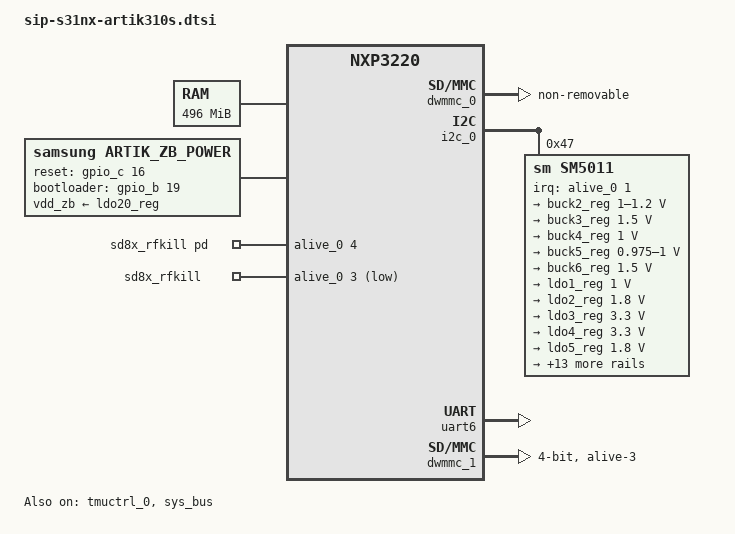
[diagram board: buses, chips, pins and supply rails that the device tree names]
// SPDX-License-Identifier: (GPL-2.0+ OR MIT)
/*
 * Copyright (C) 2018  Nexell Co., Ltd.
 * Author: JungHyun, Kim <jhkim@nexell.co.kr>
 */

#include "sip-s31nx.dtsi"

/ {
	compatible = "samsung,artik310s", "nexell,nxp3220";

	memory@40000000 {
		device_type = "memory";
		reg = <0x40000000 0x1f000000>;
	};

	thermal-zones {
		cpu_thermal: cpu-thermal {
			thermal-sensors = <&tmuctrl_0>;
			polling-delay-passive = <1000>;
			polling-delay = <1000>;
			trips {
				cpu_alert0: cpu-alert-0 {
					temperature = <90000>;
					hysteresis = <0>;
					type = "passive";
				};
				cpu_alert1: cpu-alert-1 {
					temperature = <100000>;
					hysteresis = <0>;
					type = "passive";
				};
				cpu_alert2: cpu-alert-2 {
					temperature = <110000>;
					hysteresis = <0>;
					type = "passive";
				};
				cpu-crit-0 {
					temperature = <115000>;
					hysteresis = <0>;
					type = "critical";
				};
			};

			cooling-maps {
				map0 {
					trip = <&cpu_alert0>;
					cooling-device = <&cpu0 5 5>;
				};
				map1 {
					trip = <&cpu_alert1>;
					cooling-device = <&cpu0 8 8>;
				};
				map2 {
					trip = <&cpu_alert2>;
					cooling-device = <&cpu0 9 9>;
				};
			};
		};
	};

	artik_zb_power {
		compatible = "samsung,artik_zb_power";
		vdd_zb-supply = <&ldo20_reg>;     /* PVDD_LDO20_3P3 */
		reset-gpio = <&gpio_c 16 0>;      /* AP_ZB_RSTn = GPC16 */
		bootloader-gpio = <&gpio_b 19 0>; /* AP_ZIG_RBI = GPB19 */
		status = "okay";
	};

	sd8x_rfkill: sd8x-rfkill {
		 compatible = "mrvl,sd8x-rfkill";
		 sd-host = <&dwmmc_1>;
		 pd-gpio = <&alive_0 4 0>; /* AliveGPIO4=AP_COMBO_PDN output*/
		 gpios = <&alive_0 3 1>; /* AliveGPIO3=COMBE_HOST_WAKE, input */
		 vdd_bt_wlna_io_3p3-supply = <&ldo16_reg>;  /* PVDD_LDO16_3P3 */
		 vdd_bt_wlna_2p2-supply = <&ldo17_reg>;     /* PVDD_LDO17_2P2 */
		 vdd_bt_wlna_1p8-supply = <&ldo18_reg>;     /* PVDD_LDO18_1P8 */
		 status = "okay";
	};

	sd8xxx-wlan {
		 drvdbg  = <0x37>;
		 drv_mode = <0x5>;
		 cfg80211_wext = <0xf>;
		 sta_name = "wlan";
		 wfd_name = "p2p";
		 max_vir_bss = <1>;
		 cal_data_cfg = "mrvl/WlanCalData_ext.conf";
		 fw_name = "mrvl/sdsd8977_combo_v2.bin";
		 reg_alpha2 = "US";
		 p2p_enh = <1>;
		 inact_tmo = <300>;
		 txpwrlimit_cfg = "mrvl/txpwrlimit_cfg.bin";
	};

	sd8xxx-bt {
		 init_cfg = "mrvl/bt_init_cfg.conf";
		 cal_cfg = "mrvl/bt_cal_data.conf";
	};
};

&cpu0 {
	cpu-supply = <&buck2_reg>;
};

&cpu0_opp_table {
	opp-0 {
		opp-hz = /bits/ 64 <100000000>;
		opp-microvolt = <1000000>;
	};
	opp-1 {
		opp-hz = /bits/ 64 <200000000>;
		opp-microvolt = <1000000>;
	};
	opp-2 {
		opp-hz = /bits/ 64 <300000000>;
		opp-microvolt = <1000000>;
	};
	opp-3 {
		opp-hz = /bits/ 64 <400000000>;
		opp-microvolt = <1000000>;
	};
	opp-4 {
		opp-hz = /bits/ 64 <500000000>;
		opp-microvolt = <1000000>;
	};
	opp-5 {
		opp-hz = /bits/ 64 <600000000>;
		opp-microvolt = <1100000>;
	};
	opp-6 {
		opp-hz = /bits/ 64 <700000000>;
		opp-microvolt = <1100000>;
	};
	opp-7 {
		opp-hz = /bits/ 64 <800000000>;
		opp-microvolt = <1100000>;
		opp-suspend;
	};
	opp-8 {
		opp-hz = /bits/ 64 <900000000>;
		opp-microvolt = <1200000>;
	};
	opp-9 {
		opp-hz = /bits/ 64 <1000000000>;
		opp-microvolt = <1200000>;
	};
};

&dwmmc_0 {
	clock-frequency = <333333334>;

	cap-mmc-highspeed;
	non-removable;
	mmc-ddr-3_3v;
	nexell,drive_shift = <0x03>;
	nexell,sample_shift = <0x03>;
	card-detect-delay = <200>;
	disable-wp;
	status = "okay";
};

&i2c_0 {
	status = "okay";
	#address-cells = <1>;
	#size-cells = <0>;

	sm5011: sm5011-pmic@47 {
		compatible = "sm,sm5011";
		interrupt-parent = <&alive_0>;
		interrupts = <1 IRQ_TYPE_NONE>;
		pinctrl-names = "default";
		pinctrl-0 = <&pmic_irq &rtc_out>;
		reg = <0x47>;
		enable-pwrstm;

		voltage-regulators {
			buck2_reg: BUCK2 {
				regulator-name = "VDD_CPU_1P0";
				regulator-min-microvolt = <1000000>;
				regulator-max-microvolt = <1200000>;
				regulator-always-on;
				regulator-boot-on;
				pwrstm-enter-slot = <3>;
				pwrstm-exit-slot = <0>;

				regulator-state-mem {
					regulator-off-in-suspend;
				};
			};

			buck3_reg: BUCK3 {
				regulator-name = "VDD_DDRIO_1P5";
				regulator-min-microvolt = <1500000>;
				regulator-max-microvolt = <1500000>;
				regulator-always-on;
				regulator-boot-on;

				regulator-state-mem {
					regulator-on-in-suspend;
				};
			};

			buck4_reg: BUCK4 {
				regulator-name = "VDD_DDR_1P0";
				regulator-min-microvolt = <1000000>;
				regulator-max-microvolt = <1000000>;
				regulator-always-on;
				regulator-boot-on;
				pwrstm-enter-slot = <3>;
				pwrstm-exit-slot = <0>;

				regulator-state-mem {
					regulator-off-in-suspend;
				};
			};

			buck5_reg: BUCK5 {
				regulator-name = "VDD_CORE_1P0";
				regulator-min-microvolt = <975000>;
				regulator-max-microvolt = <1000000>;
				regulator-always-on;
				regulator-boot-on;
				pwrstm-enter-slot = <3>;
				pwrstm-exit-slot = <0>;

				regulator-state-mem {
					regulator-off-in-suspend;
				};
			};

			buck6_reg: BUCK6 {
				regulator-name = "VDD_DDR_1P5";
				regulator-min-microvolt = <1500000>;
				regulator-max-microvolt = <1500000>;
				regulator-always-on;
				regulator-boot-on;

				regulator-state-mem {
					regulator-on-in-suspend;
				};
			};

			ldo1_reg: LDO1 {
				regulator-name = "VDD_PLL0_1P0";
				regulator-min-microvolt = <1000000>;
				regulator-max-microvolt = <1000000>;
				regulator-always-on;
				regulator-boot-on;
				pwrstm-enter-slot = <3>;
				pwrstm-exit-slot = <0>;

				regulator-state-mem {
					regulator-off-in-suspend;
				};
			};

			ldo2_reg: LDO2 {
				regulator-name = "VDD_PLL0_1P8";
				regulator-min-microvolt = <1800000>;
				regulator-max-microvolt = <1800000>;
				regulator-always-on;
				regulator-boot-on;
				pwrstm-enter-slot = <1>;
				pwrstm-exit-slot = <2>;

				regulator-state-mem {
					regulator-off-in-suspend;
				};
			};

			ldo3_reg: LDO3 {
				regulator-name = "VDD_EMMC_IO_3P3";
				regulator-min-microvolt = <3300000>;
				regulator-max-microvolt = <3300000>;
				regulator-always-on;
				regulator-boot-on;

				regulator-state-mem {
					regulator-on-in-suspend;
				};
			};

			ldo4_reg: LDO4 {
				regulator-name = "VDD_ALIVE_3P3";
				regulator-min-microvolt = <3300000>;
				regulator-max-microvolt = <3300000>;
				regulator-always-on;
				regulator-boot-on;

				regulator-state-mem {
					regulator-on-in-suspend;
				};
			};

			ldo5_reg: LDO5 {
				regulator-name = "VDD_ALIVE_1P8";
				regulator-min-microvolt = <1800000>;
				regulator-max-microvolt = <1800000>;
				regulator-always-on;
				regulator-boot-on;

				regulator-state-mem {
					regulator-on-in-suspend;
				};
			};

			ldo6_reg: LDO6 {
				regulator-name = "VDD_ALIVE_1P0";
				regulator-min-microvolt = <1000000>;
				regulator-max-microvolt = <1000000>;
				regulator-always-on;
				regulator-boot-on;

				regulator-state-mem {
					regulator-on-in-suspend;
				};
			};

			ldo7_reg: LDO7 {
				regulator-name = "VDD_EFUSE_1P5";
				regulator-min-microvolt = <1500000>;
				regulator-max-microvolt = <1500000>;
			};

			ldo9_reg: LDO9 {
				regulator-name = "VDD_USB_1P0";
				regulator-min-microvolt = <1000000>;
				regulator-max-microvolt = <1000000>;
				regulator-always-on;
				regulator-boot-on;
				pwrstm-enter-slot = <3>;
				pwrstm-exit-slot = <0>;

				regulator-state-mem {
					regulator-off-in-suspend;
				};
			};

			ldo10_reg: LDO10 {
				regulator-name = "VDD_USB_1P8";
				regulator-min-microvolt = <1800000>;
				regulator-max-microvolt = <1800000>;
				regulator-always-on;
				regulator-boot-on;
				pwrstm-enter-slot = <1>;
				pwrstm-exit-slot = <2>;

				regulator-state-mem {
					regulator-off-in-suspend;
				};
			};

			ldo11_reg: LDO11 {
				regulator-name = "VDD_USB_3P3";
				regulator-min-microvolt = <3300000>;
				regulator-max-microvolt = <3300000>;
				regulator-always-on;
				regulator-boot-on;
				pwrstm-enter-slot = <0>;
				pwrstm-exit-slot = <3>;

				regulator-state-mem {
					regulator-off-in-suspend;
				};
			};

			ldo12_reg: LDO12 {
				regulator-name = "VDD_LDO12_1P8";
				regulator-min-microvolt = <1800000>;
				regulator-max-microvolt = <1800000>;
				regulator-always-on;
				regulator-boot-on;

				regulator-state-mem {
					regulator-on-in-suspend;
				};
			};

			ldo13_reg: LDO13 {
				regulator-name = "VDD_LDO13_3P3";
				regulator-min-microvolt = <3300000>;
				regulator-max-microvolt = <3300000>;
				regulator-always-on;
				regulator-boot-on;

				regulator-state-mem {
					regulator-on-in-suspend;
				};
			};

			ldo14_reg: LDO14 {
				regulator-name = "VDD_MM_1P0_AP";
				regulator-min-microvolt = <1000000>;
				regulator-max-microvolt = <1000000>;
				regulator-always-on;
				regulator-boot-on;
				pwrstm-enter-slot = <3>;
				pwrstm-exit-slot = <0>;

				regulator-state-mem {
					regulator-off-in-suspend;
				};
			};

			ldo15_reg: LDO15 {
				regulator-name = "VDD_DDRPLL_1P8_AP";
				regulator-min-microvolt = <1800000>;
				regulator-max-microvolt = <1800000>;
				regulator-always-on;
				regulator-boot-on;
				pwrstm-enter-slot = <1>;
				pwrstm-exit-slot = <2>;

				regulator-state-mem {
					regulator-off-in-suspend;
				};
			};

			ldo16_reg: LDO16 {
				regulator-name = "VDD_BT_WLAN_IO_3P3";
				regulator-min-microvolt = <3300000>;
				regulator-max-microvolt = <3300000>;
			};

			ldo17_reg: LDO17 {
				regulator-name = "VDD_BT_WLAN_2P2";
				regulator-min-microvolt = <2200000>;
				regulator-max-microvolt = <2200000>;
			};

			ldo18_reg: LDO18 {
				regulator-name = "VDD_BT_WLAN_1P8";
				regulator-min-microvolt = <1800000>;
				regulator-max-microvolt = <1800000>;
			};

			ldo20_reg: LDO20 {
				regulator-name = "VDD_ZB_3P3";
				regulator-min-microvolt = <3300000>;
				regulator-max-microvolt = <3300000>;
			};
		};
	};
};

&pinctrl_0 {
	key_pwr: key-pwr {
		nexell,pins = "alive-0";
		nexell,pin-function = <NX_PIN_FUNC0>;
		nexell,pin-pull = <NX_PIN_PULL_UP>;
		nexell,pin-strength = <NX_PIN_STR0>;
	};

	pmic_irq: sm5011-irq {
		nexell,pins = "alive-1";
		nexell,pin-function = <NX_PIN_FUNC0>;
		nexell,pin-pull = <NX_PIN_PULL_NONE>;
		nexell,pin-strength = <NX_PIN_STR0>;
	};

	cfg_wlanhostwake: cfg-wlanhostwake {
		nexell,pins = "alive-3";
		nexell,pin-function = <NX_PIN_FUNC0>;
		nexell,pin-pull = <NX_PIN_PULL_UP>;
		nexell,pin-strength = <NX_PIN_STR0>;
	};
};

&tmuctrl_0 {
	status = "okay";
};

&uart6 {
	status = "okay";
	pinctrl-0 = <&uart6_bus &uart6_hflow>;
};

&dwmmc_1 {
	status = "okay";
	num-slots = <1>;
	bus-width = <4>;
	cap-sd-highspeed;

	broken-cd;
	clock-frequency = <200000000>;
	supports-detect-complete;
	no-prescan-powerup;
	keep-power-in-suspend;
	pm-ignore-notify;
	powered-resumed-nonremovable-card;

	nexell,drive_shift = <0x2>;
	nexell,sample_shift = <0x2>;

	pinctrl-names = "default";
	pinctrl-0 = <&mmc1_clk &mmc1_cmd &mmc1_bus4 &cfg_wlanhostwake>;
};

&peri0_pwr_pin {
	PWR_PIN(PERI0, gpioa-0, INPUT, LOW, NONE);
	PWR_PIN(PERI0, gpioa-1, INPUT, LOW, NONE);
	PWR_PIN(PERI0, gpioa-2, INPUT, LOW, NONE);
	PWR_PIN(PERI0, gpioa-3, INPUT, LOW, NONE);
	PWR_PIN(PERI0, gpioa-4, INPUT, LOW, NONE);
	PWR_PIN(PERI0, gpioa-5, INPUT, LOW, NONE);
	PWR_PIN(PERI0, gpioa-6, INPUT, LOW, NONE);
	PWR_PIN(PERI0, gpioa-7, INPUT, LOW, NONE);
	PWR_PIN(PERI0, gpioa-8, INPUT, LOW, NONE);
	PWR_PIN(PERI0, gpioa-9, INPUT, LOW, NONE);
	PWR_PIN(PERI0, gpioa-10, INPUT, LOW, NONE);
	PWR_PIN(PERI0, gpioa-11, INPUT, LOW, NONE);
	PWR_PIN(PERI0, gpioa-12, INPUT, LOW, NONE);
	PWR_PIN(PERI0, gpioa-13, INPUT, LOW, NONE);
	PWR_PIN(PERI0, gpioa-14, INPUT, LOW, NONE);
	PWR_PIN(PERI0, gpioa-15, INPUT, LOW, NONE);
	PWR_PIN(PERI0, gpioa-16, INPUT, LOW, NONE);
	PWR_PIN(PERI0, gpioa-17, INPUT, LOW, NONE);
	PWR_PIN(PERI0, gpioa-18, INPUT, LOW, NONE);
	PWR_PIN(PERI0, gpioa-19, INPUT, LOW, NONE);
	PWR_PIN(PERI0, gpioa-20, INPUT, LOW, NONE);
	PWR_PIN(PERI0, gpioa-21, INPUT, LOW, NONE);
	PWR_PIN(PERI0, gpioa-22, INPUT, LOW, NONE);
	PWR_PIN(PERI0, gpioa-23, INPUT, LOW, NONE);
	PWR_PIN(PERI0, gpioa-24, NONE, LOW, UP);
	PWR_PIN(PERI0, gpioa-25, INPUT, LOW, NONE);
	PWR_PIN(PERI0, gpioa-26, INPUT, LOW, NONE);
	PWR_PIN(PERI0, gpioa-27, INPUT, LOW, NONE);
	PWR_PIN(PERI0, gpioa-28, INPUT, LOW, NONE);
};

&sdmmc_pwr_pin {
	PWR_PIN(SDMMC, gpioa-29, INPUT, LOW, UP);
	PWR_PIN(SDMMC, gpioa-30, INPUT, LOW, UP);
	PWR_PIN(SDMMC, gpioa-31, INPUT, LOW, UP);
	PWR_PIN(SDMMC, gpiob-0, INPUT, LOW, UP);
	PWR_PIN(SDMMC, gpiob-1, INPUT, LOW, NONE);
	PWR_PIN(SDMMC, gpiob-2, INPUT, LOW, UP);
	PWR_PIN(SDMMC, gpiob-3, INPUT, LOW, NONE);
	PWR_PIN(SDMMC, gpiob-4, INPUT, LOW, NONE);
	PWR_PIN(SDMMC, gpiob-5, INPUT, LOW, NONE);
	PWR_PIN(SDMMC, gpiob-6, INPUT, LOW, NONE);
	PWR_PIN(SDMMC, gpiob-7, INPUT, LOW, NONE);
	PWR_PIN(SDMMC, gpiob-8, INPUT, LOW, NONE);
};

/* This configuration will be applied after verification is done.
&nand_pwr_pin {
	PWR_PIN(NAND, gpiob-9, INPUT, LOW, UP);
	PWR_PIN(NAND, gpiob-10, INPUT, LOW, UP);
	PWR_PIN(NAND, gpiob-11, INPUT, LOW, UP);
	PWR_PIN(NAND, gpiob-12, INPUT, LOW, UP);
	PWR_PIN(NAND, gpiob-13, INPUT, LOW, UP);
	PWR_PIN(NAND, gpiob-14, INPUT, LOW, UP);
	PWR_PIN(NAND, gpiob-15, INPUT, LOW, UP);
	PWR_PIN(NAND, gpiob-16, INPUT, LOW, UP);
	PWR_PIN(NAND, gpiob-17, INPUT, LOW, NONE);
	PWR_PIN(NAND, gpiob-18, INPUT, LOW, NONE);
	PWR_PIN(NAND, gpiob-19, INPUT, LOW, DOWN);
	PWR_PIN(NAND, gpiob-20, INPUT, LOW, UP);
	PWR_PIN(NAND, gpiob-21, INPUT, LOW, UP);
	PWR_PIN(NAND, gpiob-22, INPUT, LOW, DOWN);
	PWR_PIN(NAND, gpiob-23, INPUT, LOW, NONE);
	PWR_PIN(NAND, gpiob-24, INPUT, LOW, NONE);
};
*/

&peri1_pwr_pin {
	PWR_PIN(PERI1, gpiob-25, OUTPUT, LOW, NONE);
	PWR_PIN(PERI1, gpiob-26, OUTPUT, LOW, NONE);
	PWR_PIN(PERI1, gpiob-27, INPUT, LOW, UP);
	PWR_PIN(PERI1, gpiob-28, INPUT, LOW, UP);
	PWR_PIN(PERI1, gpiob-29, INPUT, LOW, NONE);
	PWR_PIN(PERI1, gpiob-30, INPUT, LOW, NONE);
	PWR_PIN(PERI1, gpiob-31, OUTPUT, HIGH, NONE);
	PWR_PIN(PERI1, gpioc-0, INPUT, LOW, NONE);
	PWR_PIN(PERI1, gpioc-1, INPUT, LOW, NONE);
	PWR_PIN(PERI1, gpioc-2, INPUT, LOW, NONE);
	PWR_PIN(PERI1, gpioc-3, INPUT, LOW, NONE);
	PWR_PIN(PERI1, gpioc-4, INPUT, LOW, NONE);
	PWR_PIN(PERI1, gpioc-5, INPUT, LOW, NONE);
	PWR_PIN(PERI1, gpioc-6, OUTPUT, LOW, NONE);
	PWR_PIN(PERI1, gpioc-7, OUTPUT, LOW, NONE);
	PWR_PIN(PERI1, gpioc-8, INPUT, LOW, NONE);
	PWR_PIN(PERI1, gpioc-9, INPUT, LOW, NONE);
	PWR_PIN(PERI1, gpioc-10, INPUT, LOW, NONE);
	PWR_PIN(PERI1, gpioc-11, INPUT, LOW, NONE);
	PWR_PIN(PERI1, gpioc-12, INPUT, LOW, NONE);
	PWR_PIN(PERI1, gpioc-13, INPUT, LOW, NONE);
	PWR_PIN(PERI1, gpioc-14, INPUT, LOW, UP);
	PWR_PIN(PERI1, gpioc-15, INPUT, LOW, NONE);
	PWR_PIN(PERI1, gpioc-16, INPUT, LOW, UP);
	PWR_PIN(PERI1, gpioc-17, INPUT, LOW, DOWN);
};

&gmac_pwr_pin {
	PWR_PIN(GMAC, gpioc-18, INPUT, HIGH, NONE);
	PWR_PIN(GMAC, gpioc-19, INPUT, HIGH, NONE);
	PWR_PIN(GMAC, gpioc-20, INPUT, HIGH, NONE);
	PWR_PIN(GMAC, gpioc-21, INPUT, HIGH, NONE);
	PWR_PIN(GMAC, gpioc-22, INPUT, HIGH, NONE);
	PWR_PIN(GMAC, gpioc-23, INPUT, HIGH, NONE);
	PWR_PIN(GMAC, gpioc-24, INPUT, HIGH, NONE);
	PWR_PIN(GMAC, gpioc-25, INPUT, HIGH, NONE);
	PWR_PIN(GMAC, gpioc-26, INPUT, HIGH, NONE);
	PWR_PIN(GMAC, gpioc-27, INPUT, HIGH, NONE);
	PWR_PIN(GMAC, gpioc-28, INPUT, HIGH, NONE);
	PWR_PIN(GMAC, gpioc-29, INPUT, HIGH, NONE);
	PWR_PIN(GMAC, gpioc-30, INPUT, HIGH, NONE);
	PWR_PIN(GMAC, gpioc-31, INPUT, HIGH, NONE);
	PWR_PIN(GMAC, gpiod-0, INPUT, HIGH, NONE);
	PWR_PIN(GMAC, gpiod-1, INPUT, HIGH, NONE);
	PWR_PIN(GMAC, gpiod-2, INPUT, HIGH, NONE);
	PWR_PIN(GMAC, gpiod-3, INPUT, HIGH, NONE);
	PWR_PIN(GMAC, gpiod-4, INPUT, HIGH, NONE);
	PWR_PIN(GMAC, gpiod-5, INPUT, HIGH, NONE);
	PWR_PIN(GMAC, gpiod-6, INPUT, HIGH, NONE);
	PWR_PIN(GMAC, gpiod-7, INPUT, HIGH, NONE);
	PWR_PIN(GMAC, gpiod-8, INPUT, HIGH, NONE);
	PWR_PIN(GMAC, gpiod-9, OUTPUT, HIGH, NONE);
};

&peri2_pwr_pin {
	PWR_PIN(PERI2, gpiod-10, INPUT, LOW, NONE);
	PWR_PIN(PERI2, gpiod-11, INPUT, LOW, NONE);
	PWR_PIN(PERI2, gpiod-12, INPUT, LOW, NONE);
	PWR_PIN(PERI2, gpiod-13, INPUT, LOW, NONE);
	PWR_PIN(PERI2, gpiod-14, INPUT, LOW, NONE);
	PWR_PIN(PERI2, gpiod-15, INPUT, LOW, NONE);
	PWR_PIN(PERI2, gpiod-16, INPUT, LOW, NONE);
	PWR_PIN(PERI2, gpiod-17, INPUT, LOW, NONE);
	PWR_PIN(PERI2, gpiod-18, INPUT, LOW, NONE);
	PWR_PIN(PERI2, gpiod-19, INPUT, LOW, NONE);
	PWR_PIN(PERI2, gpiod-20, INPUT, LOW, NONE);
	PWR_PIN(PERI2, gpiod-21, INPUT, LOW, NONE);
	PWR_PIN(PERI2, gpiod-22, INPUT, LOW, NONE);
	PWR_PIN(PERI2, gpiod-23, INPUT, LOW, NONE);
	PWR_PIN(PERI2, gpiod-24, INPUT, LOW, NONE);
	PWR_PIN(PERI2, gpiod-25, INPUT, LOW, NONE);
	PWR_PIN(PERI2, gpiod-26, INPUT, LOW, NONE);
	PWR_PIN(PERI2, gpiod-27, INPUT, LOW, UP);
	PWR_PIN(PERI2, gpiod-28, INPUT, LOW, NONE);
	PWR_PIN(PERI2, gpiod-29, INPUT, LOW, NONE);
	PWR_PIN(PERI2, gpiod-30, INPUT, LOW, NONE);
	PWR_PIN(PERI2, gpiod-31, INPUT, LOW, NONE);
	PWR_PIN(PERI2, gpioe-0, INPUT, LOW, NONE);
	PWR_PIN(PERI2, gpioe-1, INPUT, LOW, NONE);
};

&vip_pwr_pin {
	PWR_PIN(VIP, gpioe-2, OUTPUT, HIGH, PREV);
	PWR_PIN(VIP, gpioe-3, OUTPUT, HIGH, PREV);
	PWR_PIN(VIP, gpioe-4, OUTPUT, HIGH, PREV);
	PWR_PIN(VIP, gpioe-5, OUTPUT, HIGH, PREV);
	PWR_PIN(VIP, gpioe-6, OUTPUT, HIGH, PREV);
	PWR_PIN(VIP, gpioe-7, OUTPUT, HIGH, PREV);
	PWR_PIN(VIP, gpioe-8, OUTPUT, HIGH, PREV);
	PWR_PIN(VIP, gpioe-9, OUTPUT, HIGH, PREV);
	PWR_PIN(VIP, gpioe-10, OUTPUT, HIGH, PREV);
	PWR_PIN(VIP, gpioe-11, OUTPUT, HIGH, PREV);
	PWR_PIN(VIP, gpioe-12, OUTPUT, HIGH, PREV);
	PWR_PIN(VIP, gpioe-13, OUTPUT, HIGH, PREV);
	PWR_PIN(VIP, gpioe-14, OUTPUT, HIGH, PREV);
	PWR_PIN(VIP, gpioe-15, OUTPUT, HIGH, PREV);
};

&sys_bus {
	status = "okay";
	vdd-supply = <&buck5_reg>; /* "VDD_CORE_1P0" */
};
